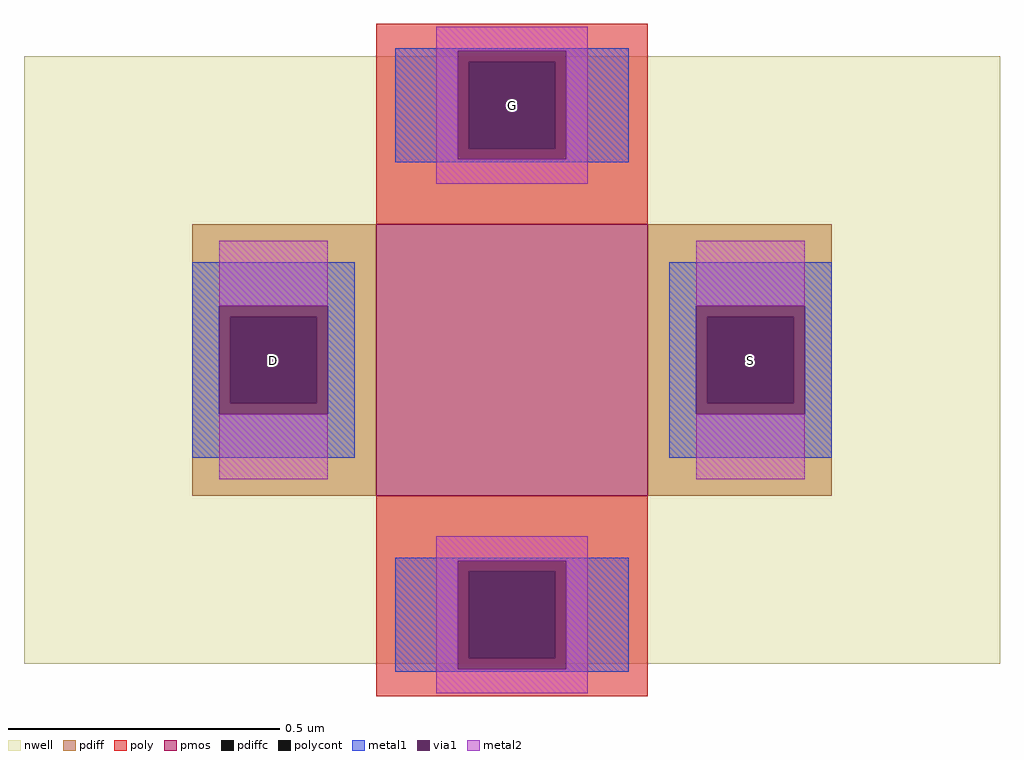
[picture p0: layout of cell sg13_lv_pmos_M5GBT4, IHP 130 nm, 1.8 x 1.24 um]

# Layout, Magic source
magic
tech ihp-sg13g2
magscale 1 2
<< nwell >>
rect -180 -112 180 112
<< pmos >>
rect -50 -50 50 50
<< pdiff >>
rect -118 16 -50 50
rect -118 -16 -104 16
rect -72 -16 -50 16
rect -118 -50 -50 -16
rect 50 16 118 50
rect 50 -16 72 16
rect 104 -16 118 16
rect 50 -50 118 -16
<< pdiffc >>
rect -104 -16 -72 16
rect 72 -16 104 16
<< poly >>
rect -50 110 50 124
rect -50 78 -16 110
rect 16 78 50 110
rect -50 50 50 78
rect -50 -78 50 -50
rect -50 -110 -16 -78
rect 16 -110 50 -78
rect -50 -124 50 -110
<< polycont >>
rect -16 78 16 110
rect -16 -110 16 -78
<< metal1 >>
rect -43 114 43 115
rect -43 74 -20 114
rect 20 74 43 114
rect -43 73 43 74
rect -118 20 -58 36
rect -118 -20 -108 20
rect -68 -20 -58 20
rect -118 -36 -58 -20
rect 58 20 118 36
rect 58 -20 68 20
rect 108 -20 118 20
rect 58 -36 118 -20
rect -43 -74 43 -73
rect -43 -114 -20 -74
rect 20 -114 43 -74
rect -43 -115 43 -114
<< via1 >>
rect -20 110 20 114
rect -20 78 -16 110
rect -16 78 16 110
rect 16 78 20 110
rect -20 74 20 78
rect -108 16 -68 20
rect -108 -16 -104 16
rect -104 -16 -72 16
rect -72 -16 -68 16
rect -108 -20 -68 -16
rect 68 16 108 20
rect 68 -16 72 16
rect 72 -16 104 16
rect 104 -16 108 16
rect 68 -20 108 -16
rect -20 -78 20 -74
rect -20 -110 -16 -78
rect -16 -110 16 -78
rect 16 -110 20 -78
rect -20 -114 20 -110
<< metal2 >>
rect -28 114 28 123
rect -28 74 -20 114
rect 20 74 28 114
rect -28 65 28 74
rect -108 20 -68 44
rect -108 -44 -68 -20
rect 68 20 108 44
rect 68 -44 108 -20
rect -28 -74 28 -65
rect -28 -114 -20 -74
rect 20 -114 28 -74
rect -28 -123 28 -114
<< labels >>
rlabel metal1 s -88 0 -88 0 4 D
rlabel metal1 s 88 0 88 0 4 S
rlabel metal1 s 0 94 0 94 4 G
<< end >>
